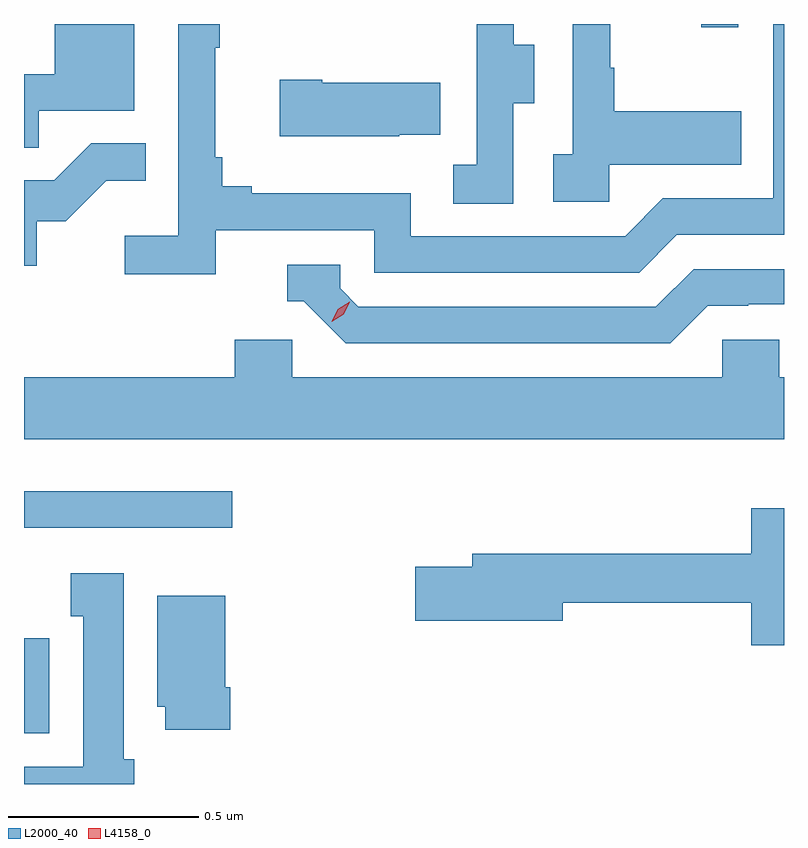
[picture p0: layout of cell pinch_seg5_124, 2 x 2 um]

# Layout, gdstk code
import gdstk
lib = gdstk.Library(unit=1e-6, precision=1e-09)
def R(c, l, rs):  # rectangles x0, y0, x1, y1
    for r in rs: c.add(gdstk.rectangle(r[:2], r[2:], *l))
def P(c, l, *ps):  # polygons
    for p in ps: c.add(gdstk.Polygon(p, *l))
L2000_40 = (2000, 40)
L4158_0 = (4158, 0)

pinch_seg5_124 = lib.new_cell('pinch_seg5_124')
R(pinch_seg5_124, L2000_40, [(1017.896,883.958,1017.963,884.209), (1017.896,884.499,1018.444,884.596), (1019.678,885.816,1019.775,885.825)])
P(pinch_seg5_124, L2000_40, [(1017.935,885.597),(1018.186,885.597),(1018.186,885.825),(1017.977,885.825),(1017.977,885.693),(1017.896,885.693),(1017.896,885.499),(1017.935,885.499)],
  [(1019.184,885.616),(1019.239,885.616),(1019.239,885.771),(1019.185,885.771),(1019.185,885.825),(1019.087,885.825),(1019.087,885.759),(1019.088,885.759),(1019.088,885.455),(1019.025,885.455),(1019.025,885.352),(1019.184,885.352)],
  [(1018.4,885.282),(1018.818,885.282),(1018.818,885.171),(1019.515,885.171),(1019.614,885.27),(1019.896,885.27),(1019.896,885.825),(1019.868,885.825),(1019.868,885.366),(1019.577,885.366),(1019.478,885.267),(1018.914,885.267),(1018.914,885.379),(1018.495,885.379),(1018.495,885.398),(1018.418,885.398),(1018.418,885.475),(1018.399,885.475),(1018.399,885.763),(1018.411,885.763),(1018.411,885.825),(1018.302,885.825),(1018.302,885.268),(1018.161,885.268),(1018.161,885.166),(1018.4,885.166)],
  [(1019.436,885.455),(1019.783,885.455),(1019.783,885.595),(1019.449,885.595),(1019.449,885.71),(1019.439,885.71),(1019.439,885.825),(1019.34,885.825),(1019.34,885.482),(1019.289,885.482),(1019.289,885.357),(1019.436,885.357)],
  [(1018.883,885.533),(1018.991,885.533),(1018.991,885.67),(1018.681,885.67),(1018.681,885.678),(1018.569,885.678),(1018.569,885.53),(1018.883,885.53)],
  [(1017.93,885.306),(1018.006,885.306),(1018.113,885.413),(1018.217,885.413),(1018.217,885.511),(1018.073,885.511),(1017.976,885.414),(1017.896,885.414),(1017.896,885.189),(1017.93,885.189)],
  [(1019.695,885.084),(1019.802,885.084),(1019.802,885.087),(1019.896,885.087),(1019.896,885.18),(1019.658,885.18),(1019.559,885.081),(1018.776,885.081),(1018.728,885.129),(1018.728,885.192),(1018.589,885.192),(1018.589,885.096),(1018.632,885.096),(1018.743,884.985),(1019.596,884.985)],
  [(1019.896,884.896),(1019.883,884.896),(1019.883,884.994),(1019.733,884.994),(1019.733,884.896),(1018.602,884.896),(1018.602,884.994),(1018.451,884.994),(1018.451,884.896),(1017.896,884.896),(1017.896,884.732),(1019.896,884.732)],
  [(1019.896,884.551),(1019.81,884.551),(1019.81,884.431),(1019.075,884.431),(1019.075,884.397),(1018.926,884.397),(1018.926,884.255),(1019.314,884.255),(1019.314,884.302),(1019.81,884.302),(1019.81,884.19),(1019.896,884.19)],
  [(1018.186,883.89),(1018.159,883.89),(1018.159,884.38),(1018.019,884.38),(1018.019,884.267),(1018.052,884.267),(1018.052,883.87),(1017.896,883.87),(1017.896,883.825),(1018.186,883.825)],
  [(1018.439,884.08),(1018.426,884.08),(1018.426,884.32),(1018.247,884.32),(1018.247,884.028),(1018.268,884.028),(1018.268,883.968),(1018.439,883.968)])
P(pinch_seg5_124, L4158_0, [(1018.706,885.042),(1018.706,885.042),(1018.722,885.075),(1018.753,885.094),(1018.753,885.094),(1018.753,885.094),(1018.737,885.061),(1018.706,885.042)])

lib.write_gds('pinch_seg5_124.gds')
